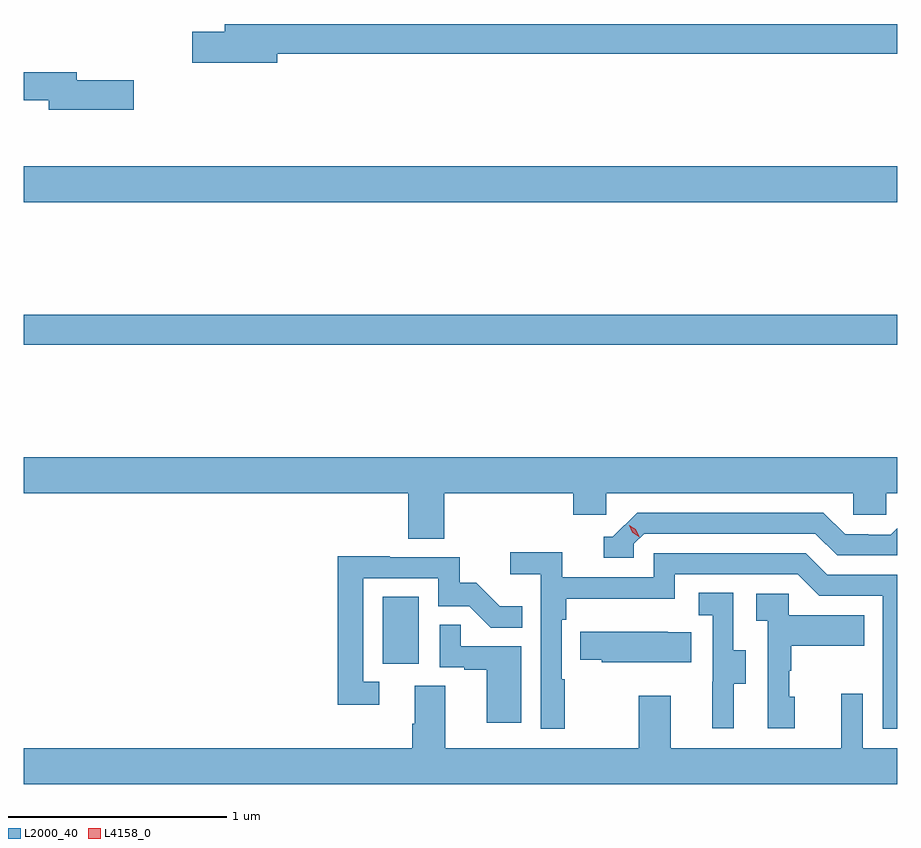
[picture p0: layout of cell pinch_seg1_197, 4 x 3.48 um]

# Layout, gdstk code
import gdstk
lib = gdstk.Library(unit=1e-6, precision=1e-09)
def R(c, l, rs):  # rectangles x0, y0, x1, y1
    for r in rs: c.add(gdstk.rectangle(r[:2], r[2:], *l))
def P(c, l, *ps):  # polygons
    for p in ps: c.add(gdstk.Polygon(p, *l))
L2000_40 = (2000, 40)
L4158_0 = (4158, 0)

pinch_seg1_197 = lib.new_cell('pinch_seg1_197')
R(pinch_seg1_197, L2000_40, [(1009.364,580.254,1009.528,580.561), (1007.72,581.716,1011.72,581.852), (1007.72,582.368,1011.72,582.532)])
P(pinch_seg1_197, L2000_40, [(1008.88,583.048),(1011.72,583.048),(1011.72,583.184),(1008.641,583.184),(1008.641,583.148),(1008.492,583.148),(1008.492,583.006),(1008.88,583.006)],
  [(1008.223,582.926),(1007.962,582.926),(1007.962,582.962),(1007.72,582.962),(1007.72,582.834),(1007.834,582.834),(1007.834,582.791),(1008.223,582.791)],
  [(1009.646,581.036),(1010.237,581.036),(1010.237,580.938),(1010.388,580.938),(1010.388,581.036),(1011.519,581.036),(1011.519,580.938),(1011.669,580.938),(1011.669,581.036),(1011.72,581.036),(1011.72,581.2),(1007.72,581.2),(1007.72,581.036),(1009.481,581.036),(1009.481,580.828),(1009.646,580.828)],
  [(1010.514,580.803),(1010.562,580.851),(1011.345,580.851),(1011.444,580.752),(1011.72,580.752),(1011.72,580.875),(1011.691,580.845),(1011.588,580.845),(1011.588,580.848),(1011.481,580.848),(1011.382,580.947),(1010.529,580.947),(1010.418,580.836),(1010.375,580.836),(1010.375,580.74),(1010.514,580.74)],
  [(1010.197,580.184),(1010.184,580.184),(1010.184,580.457),(1010.204,580.457),(1010.204,580.553),(1010.7,580.553),(1010.7,580.665),(1011.264,580.665),(1011.363,580.566),(1011.654,580.566),(1011.654,579.957),(1011.72,579.957),(1011.72,580.662),(1011.4,580.662),(1011.301,580.761),(1010.604,580.761),(1010.604,580.65),(1010.186,580.65),(1010.186,580.766),(1009.947,580.766),(1009.947,580.664),(1010.088,580.664),(1010.088,579.957),(1010.197,579.957)],
  [(1009.348,580.173),(1009.275,580.173),(1009.275,580.647),(1009.617,580.647),(1009.617,580.518),(1009.761,580.518),(1009.859,580.42),(1010.003,580.42),(1010.003,580.519),(1009.899,580.519),(1009.792,580.626),(1009.716,580.626),(1009.716,580.743),(1009.397,580.743),(1009.397,580.748),(1009.159,580.748),(1009.159,580.068),(1009.348,580.068)],
  [(1010.971,580.162),(1011.025,580.162),(1011.025,580.317),(1010.97,580.317),(1010.97,580.58),(1010.811,580.58),(1010.811,580.477),(1010.874,580.477),(1010.874,580.173),(1010.873,580.173),(1010.873,579.96),(1010.971,579.96)],
  [(1011.25,580.104),(1011.225,580.104),(1011.225,580.223),(1011.235,580.223),(1011.235,580.337),(1011.569,580.337),(1011.569,580.477),(1011.222,580.477),(1011.222,580.575),(1011.075,580.575),(1011.075,580.451),(1011.126,580.451),(1011.126,579.96),(1011.25,579.96)],
  [(1009.999,580.335),(1009.721,580.335),(1009.721,580.433),(1009.626,580.433),(1009.626,580.239),(1009.737,580.239),(1009.737,580.227),(1009.841,580.227),(1009.841,579.984),(1009.999,579.984)],
  [(1010.777,580.399),(1010.669,580.399),(1010.669,580.402),(1010.269,580.402),(1010.269,580.273),(1010.367,580.273),(1010.367,580.262),(1010.777,580.262)],
  [(1011.72,579.868),(1011.561,579.868),(1011.561,580.117),(1011.464,580.117),(1011.464,579.868),(1010.683,579.868),(1010.683,580.108),(1010.536,580.108),(1010.536,579.868),(1009.651,579.868),(1009.651,580.154),(1009.511,580.154),(1009.511,579.98),(1009.499,579.98),(1009.499,579.868),(1007.72,579.868),(1007.72,579.704),(1011.72,579.704)])
P(pinch_seg1_197, L4158_0, [(1010.537,580.837),(1010.507,580.857),(1010.492,580.889),(1010.492,580.889),(1010.492,580.889),(1010.522,580.87),(1010.538,580.837),(1010.538,580.837)])

lib.write_gds('pinch_seg1_197.gds')
